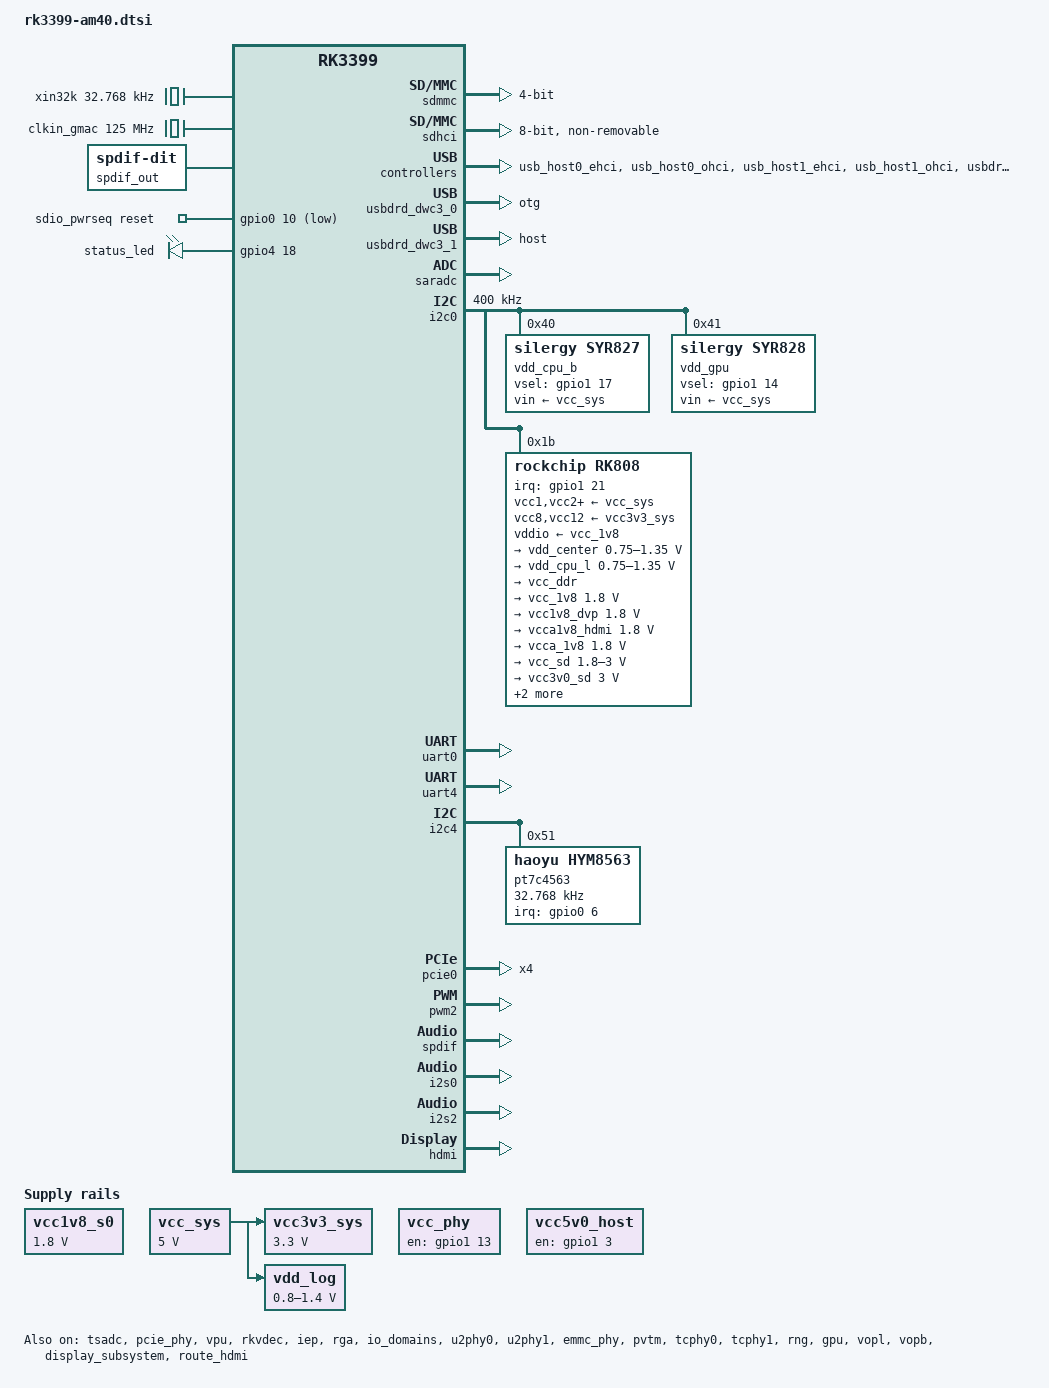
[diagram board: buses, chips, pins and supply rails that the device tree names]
#include <dt-bindings/pwm/pwm.h>
#include <dt-bindings/input/input.h>
#include "rk3399.dtsi"
#include "rk3399-android.dtsi"
#include "rk3399-opp.dtsi"
/{
    compatible = "rockchip,rk3399-am40","rockchip,rk3399";
    rk_key:rockchip-key {
		compatible = "rockchip,key";
		status = "okay";

		power-key {
			gpios = <&gpio0 5 GPIO_ACTIVE_LOW>;
			label = "power";
			gpio-key,wakeup;
		};
	};

	vcc1v8_s0: vcc1v8-s0 {
		compatible = "regulator-fixed";
		regulator-name = "vcc1v8_s0";
		regulator-min-microvolt = <1800000>;
		regulator-max-microvolt = <1800000>;
		regulator-always-on;
		regulator-boot-on;
	};

	vcc_sys: vcc-sys {
		compatible = "regulator-fixed";
		regulator-name = "vcc_sys";
		regulator-min-microvolt = <5000000>;
		regulator-max-microvolt = <5000000>;
		regulator-always-on;
		regulator-boot-on;
	};

	vcc_phy: vcc-phy-regulator {
		compatible = "regulator-fixed";
		regulator-name = "vcc_phy";
		regulator-always-on;
		regulator-boot-on;
		enable-active-high;
		gpio = <&gpio1 13 GPIO_ACTIVE_HIGH>;
	};

	vcc3v3_sys: vcc3v3-sys {
		compatible = "regulator-fixed";
		regulator-name = "vcc3v3_sys";
		regulator-min-microvolt = <3300000>;
		regulator-max-microvolt = <3300000>;
		regulator-always-on;
		regulator-boot-on;
		vin-supply = <&vcc_sys>;
	};

	vcc5v0_host: vcc5v0-host-regulator {
		compatible = "regulator-fixed";
		enable-active-high;
		gpio = <&gpio1 3 GPIO_ACTIVE_HIGH>;
		pinctrl-names = "default";
		pinctrl-0 = <&host_vbus_drv>;
		regulator-name = "vcc5v0_host";
		regulator-always-on;
		regulator-boot-on;
	};

	vdd_log: vdd-log {
		compatible = "pwm-regulator";
		pwms = <&pwm2 0 25000 1>;
		regulator-name = "vdd_log";
		regulator-min-microvolt = <800000>;
		regulator-max-microvolt = <1400000>;
		regulator-always-on;
		regulator-boot-on;
		rockchip,pwm_id= <2>;
		rockchip,pwm_voltage = <900000>;
		vin-supply = <&vcc_sys>;
	};
	
	xin32k: xin32k {
		compatible = "fixed-clock";
		clock-frequency = <32768>;
		clock-output-names = "xin32k";
		#clock-cells = <0>;
	};

	clkin_gmac: external-gmac-clock {
		compatible = "fixed-clock";
		clock-frequency = <125000000>;
		clock-output-names = "clkin_gmac";
		#clock-cells = <0>;
	};

	spdif-sound {
		status = "okay";
		compatible = "simple-audio-card";
		simple-audio-card,name = "ROCKCHIP,SPDIF";
		simple-audio-card,mclk-fs = <128>;
		simple-audio-card,cpu {
			sound-dai = <&spdif>;
		};
		simple-audio-card,codec {
			sound-dai = <&spdif_out>;
		};
	};

	spdif_out: spdif-out {
		status = "okay";
		compatible = "linux,spdif-dit";
		#sound-dai-cells = <0>;
	};

	sdio_pwrseq: sdio-pwrseq {
		compatible = "mmc-pwrseq-simple";
		clocks = <&rk808 1>;
		clock-names = "ext_clock";
		pinctrl-names = "default";
		pinctrl-0 = <&wifi_enable_h>;
		reset-gpios = <&gpio0 10 GPIO_ACTIVE_LOW>;
	};

	test-power {
		status = "okay";
	};
	
    leds: gpio-led {
		compatible = "gpio-leds";
		pinctrl-names = "default";
		pinctrl-0 = <&leds_gpio>;
		status = "okay";
		led@1 {
			gpios = <&gpio4 18 GPIO_ACTIVE_HIGH>;
			label = "status_led";
			linux,default-trigger = "heartbeat";
			default-state = "on";
			linux,default-trigger-delay-ms = <0>;
		};
	};
};

&sdmmc {
	clock-frequency = <100000000>;
	clock-freq-min-max = <100000 100000000>;
	supports-sd;
	bus-width = <4>;
	cap-mmc-highspeed;
	cap-sd-highspeed;
	disable-wp;
	num-slots = <1>;
	vqmmc-supply = <&vcc_sd>;
	pinctrl-names = "default";
	pinctrl-0 = <&sdmmc_clk &sdmmc_cmd &sdmmc_cd &sdmmc_bus4 &sdmmc_en &sdmmc_sleep>;
	card-detect-delay = <800>;
	status = "okay";
};

&sdhci {
	bus-width = <8>;
	mmc-hs400-1_8v;
	mmc-hs400-enhanced-strobe;
	non-removable;
	no-sd;
	no-sdio;
	status = "okay";
	assigned-clock-parents = <&cru PLL_GPLL>;
};

&usb_host0_ehci {
    power-domains = <&power RK3399_PD_PERIHP>;
    status = "okay";
};

&usb_host0_ohci{
    power-domains = <&power RK3399_PD_PERIHP>;
    status = "okay";
};

&usb_host1_ehci {
    power-domains = <&power RK3399_PD_PERIHP>;
    status = "okay";
};

&usb_host1_ohci{
    power-domains = <&power RK3399_PD_PERIHP>;
    status = "okay";
};

&usbdrd3_0 {
	status = "okay";
    extcon = <&u2phy0>;
};

&usbdrd_dwc3_0 {
	dr_mode = "otg";
	status = "okay";
};

&usbdrd3_1 {
	status = "okay";
};

&usbdrd_dwc3_1 {
	dr_mode = "host";
	status = "okay";
};

&dp_in_vopb {
	status = "disabled";
};

&saradc {
	status = "okay";
};

&i2c0 {
	status = "okay";
	i2c-scl-rising-time-ns = <168>;
	i2c-scl-falling-time-ns = <4>;
	clock-frequency = <400000>;

	vdd_cpu_b: syr827@40 {
		compatible = "silergy,syr827";
		reg = <0x40>;
		regulator-compatible = "fan53555-reg";
		pinctrl-0 = <&vsel1_gpio>;
		vsel-gpios = <&gpio1 17 GPIO_ACTIVE_HIGH>;
		regulator-name = "vdd_cpu_b";
		regulator-min-microvolt = <712500>;
		regulator-max-microvolt = <1500000>;
		regulator-ramp-delay = <1000>;
		fcs,suspend-voltage-selector = <1>;
		regulator-always-on;
		regulator-boot-on;
		vin-supply = <&vcc_sys>;
		regulator-state-mem {
			regulator-off-in-suspend;
		};
	};

	vdd_gpu: syr828@41 {
		compatible = "silergy,syr828";
		reg = <0x41>;
		regulator-compatible = "fan53555-reg";
		pinctrl-0 = <&vsel2_gpio>;
		vsel-gpios = <&gpio1 14 GPIO_ACTIVE_HIGH>;
		regulator-name = "vdd_gpu";
		regulator-min-microvolt = <712500>;
		regulator-max-microvolt = <1500000>;
		regulator-ramp-delay = <1000>;
		fcs,suspend-voltage-selector = <1>;
		regulator-always-on;
		regulator-boot-on;
		vin-supply = <&vcc_sys>;
		regulator-initial-mode = <1>; /* 1:force PWM 2:auto */
		regulator-state-mem {
			regulator-off-in-suspend;
		};
	};

	rk808: pmic@1b {
		compatible = "rockchip,rk808";
		reg = <0x1b>;
		interrupt-parent = <&gpio1>;
		interrupts = <21 IRQ_TYPE_LEVEL_LOW>;
		pinctrl-names = "default";
		pinctrl-0 = <&pmic_int_l>;
		rockchip,system-power-controller;
		wakeup-source;
		#clock-cells = <1>;
		clock-output-names = "rk808-clkout1", "rk808-clkout2";

		vcc1-supply = <&vcc_sys>;
		vcc2-supply = <&vcc_sys>;
		vcc3-supply = <&vcc_sys>;
		vcc4-supply = <&vcc_sys>;
		vcc6-supply = <&vcc_sys>;
		vcc7-supply = <&vcc_sys>;
		vcc8-supply = <&vcc3v3_sys>;
		vcc9-supply = <&vcc_sys>;
		vcc10-supply = <&vcc_sys>;
		vcc11-supply = <&vcc_sys>;
		vcc12-supply = <&vcc3v3_sys>;
		vddio-supply = <&vcc_1v8>;
        
        rtc {
		    status = "okay";
	    };
    
		regulators {
			vdd_center: DCDC_REG1 {
				regulator-name = "vdd_center";
				regulator-min-microvolt = <750000>;
				regulator-max-microvolt = <1350000>;
				regulator-ramp-delay = <6001>;
				regulator-always-on;
				regulator-boot-on;
				regulator-state-mem {
					regulator-off-in-suspend;
				};
			};

			vdd_cpu_l: DCDC_REG2 {
				regulator-name = "vdd_cpu_l";
				regulator-min-microvolt = <750000>;
				regulator-max-microvolt = <1350000>;
				regulator-ramp-delay = <6001>;
				regulator-always-on;
				regulator-boot-on;
				regulator-state-mem {
					regulator-off-in-suspend;
				};
			};

			vcc_ddr: DCDC_REG3 {
				regulator-name = "vcc_ddr";
				regulator-always-on;
				regulator-boot-on;
				regulator-state-mem {
					regulator-on-in-suspend;
				};
			};

			vcc_1v8: DCDC_REG4 {
				regulator-name = "vcc_1v8";
				regulator-min-microvolt = <1800000>;
				regulator-max-microvolt = <1800000>;
				regulator-always-on;
				regulator-boot-on;
				regulator-state-mem {
					regulator-on-in-suspend;
					regulator-suspend-microvolt = <1800000>;
				};
			};

			vcc1v8_dvp: LDO_REG1 {
				regulator-name = "vcc1v8_dvp";
				regulator-min-microvolt = <1800000>;
				regulator-max-microvolt = <1800000>;
				regulator-always-on;
				regulator-boot-on;
				regulator-state-mem {
					regulator-on-in-suspend;
					regulator-suspend-microvolt = <1800000>;
				};
			};

			vcca1v8_hdmi: LDO_REG2 {
				regulator-name = "vcca1v8_hdmi";
				regulator-min-microvolt = <1800000>;
				regulator-max-microvolt = <1800000>;
				regulator-always-on;
				regulator-boot-on;
				regulator-state-mem {
					regulator-on-in-suspend;
					regulator-suspend-microvolt = <1800000>;
				};
			};

			vcca_1v8: LDO_REG3 {
				regulator-name = "vcca_1v8";
				regulator-min-microvolt = <1800000>;
				regulator-max-microvolt = <1800000>;
				regulator-always-on;
				regulator-boot-on;
				regulator-state-mem {
					regulator-on-in-suspend;
					regulator-suspend-microvolt = <1800000>;
				};
			};

			vcc_sd: LDO_REG4 {
				regulator-name = "vcc_sd";
				regulator-min-microvolt = <1800000>;
				regulator-max-microvolt = <3000000>;
				regulator-always-on;
				regulator-boot-on;
				regulator-state-mem {
					regulator-on-in-suspend;
					regulator-suspend-microvolt = <3000000>;
				};
			};

			vcc3v0_sd: LDO_REG5 {
				regulator-name = "vcc3v0_sd";
				regulator-min-microvolt = <3000000>;
				regulator-max-microvolt = <3000000>;
				regulator-always-on;
				regulator-boot-on;
				regulator-state-mem {
					regulator-on-in-suspend;
					regulator-suspend-microvolt = <3000000>;
				};
			};

			vcc_1v5: LDO_REG6 {
				regulator-name = "vcc_1v5";
				regulator-min-microvolt = <1500000>;
				regulator-max-microvolt = <1500000>;
				regulator-always-on;
				regulator-boot-on;
				regulator-state-mem {
					regulator-on-in-suspend;
					regulator-suspend-microvolt = <1500000>;
				};
			};

			vcca0v9_hdmi: LDO_REG7 {
				regulator-name = "vcca0v9_hdmi";
				regulator-min-microvolt = <900000>;
				regulator-max-microvolt = <900000>;
				regulator-always-on;
				regulator-boot-on;
				regulator-state-mem {
					regulator-on-in-suspend;
					regulator-suspend-microvolt = <900000>;
				};
			};

			vcc_3v0: LDO_REG8 {
				regulator-name = "vcc_3v0";
				regulator-min-microvolt = <3000000>;
				regulator-max-microvolt = <3000000>;
				regulator-always-on;
				regulator-boot-on;
				regulator-state-mem {
					regulator-on-in-suspend;
					regulator-suspend-microvolt = <3000000>;
				};
			};

			vcc3v3_s3: SWITCH_REG1 {
				regulator-name = "vcc3v3_s3";
				regulator-always-on;
				regulator-boot-on;
				regulator-state-mem {
					regulator-on-in-suspend;
				};
			};

			vcc3v3_s0: SWITCH_REG2 {
				regulator-name = "vcc3v3_s0";
				regulator-always-on;
				regulator-boot-on;
				regulator-state-mem {
					regulator-on-in-suspend;
				};
			};
		};
	};
};

&uart0 {
	reg-shift = <2>;
	reg-io-width = <4>;
	pinctrl-names = "default";
	pinctrl-0 = <&uart0_xfer &uart0_cts>;
    assigned-clocks = <&cru SCLK_UART0_SRC>;
	assigned-clock-parents = <&cru PLL_GPLL>;
	status = "okay";
};

&tsadc {
	/* tshut mode 0:CRU 1:GPIO */
	rockchip,hw-tshut-mode = <1>;
	/* tshut polarity 0:LOW 1:HIGH */
	rockchip,hw-tshut-polarity = <1>;
	rockchip,hw-tshut-temp = <120000>;
	status = "okay";
};

&pmu_io_domains{
	status = "okay"; 
    pmu1830-supply = <&vcc_1v8>;
};

&pmu_pvtm {
	status = "okay";
};

&uart4 {
	status = "okay"; 
	assigned-clocks = <&pmucru SCLK_UART4_SRC>;
	assigned-clock-parents = <&pmucru PLL_APLLL>;
};

&i2c4 {
    status = "okay";
    pt7c4563:pt7c4563@51 {
        compatible = "haoyu,hym8563";
        reg = <0x51>;
        clock-frequency = <32768>;
        clock-output-names = "xin32k";
        irq-status = "okay";
        interrupt-parent = <&gpio0>;
        interrupts = <6 IRQ_TYPE_LEVEL_LOW>;
        pinctrl-names = "default";
        pinctrl-0 = <&pt7c4563_irq>;
        status = "okay";
    };
};

&pcie_phy {
   status = "okay"; 
};

&pcie0 {
    status = "okay";
    ep-gpios = <&gpio0 13 GPIO_ACTIVE_HIGH>;
    num-lanes = <4>;
    pinctrl-names = "default";
    pinctrl-0 = <&pcie_clkreqn_cpm>;
};

&pwm2 {
  status = "okay";  
};

&vpu {
    status = "okay"; 
};

&rkvdec {
    status = "okay";
};

&iep {
    status = "okay";
};

&iep_mmu {
    status = "okay";
};

&rga {
    status = "okay";
    dev_mode=<1>;
};

&io_domains {
    status = "okay";
    bt656-supply = <&vcc1v8_s0>; /* bt656_gpio2ab_ms */
    audio-supply = <&vcc1v8_s0>; /* audio_gpio3d4a_ms */
    sdmmc-supply = <&vcc_sd>; /* sdmmc_gpio4b_ms */
    gpio1830-supply = <&vcc_3v0>; /* gpio1833_gpio4cd_ms */
};

&u2phy0 {
    status = "okay";
    otg-vbus-gpios = <&gpio1 22 GPIO_ACTIVE_HIGH>;
    
    u2phy0_host: host-port {
        status = "okay";
        phy-supply = <&vcc5v0_host>;
    };

    u2phy0_otg: otg-port {
        status = "okay";
    };
};

&u2phy1 {
    status = "okay";
    u2phy1_host: host-port {
        status = "okay";
        phy-supply = <&vcc5v0_host>;
    };

    u2phy1_otg: otg-port {
        status = "okay";
    };
};

&emmc_phy {
    status = "okay";
};

&pvtm {
    status = "okay";
};

&tcphy0 {
    status = "okay";
};

&tcphy1 {
    status = "okay";
};

&spdif {
    pinctrl-0 = <&spdif_bus_1>;
    status = "okay";
    assigned-clocks = <&cru SCLK_SPDIF_DIV>;
    assigned-clock-parents = <&cru PLL_GPLL>;
    #sound-dai-cells = <0>;
};

&i2s0 {
    status = "okay";
    assigned-clocks = <&cru SCLK_I2S0_DIV>;
    assigned-clock-parents = <&cru PLL_GPLL>;
    rockchip,i2s-broken-burst-len;
    rockchip,playback-channels = <8>;
    rockchip,capture-channels = <8>;
    #sound-dai-cells = <0>;
};

&i2s2 {
    status = "okay";
    assigned-clocks = <&cru SCLK_I2S2_DIV>;
    assigned-clock-parents = <&cru PLL_GPLL>;
    rockchip,i2s-broken-burst-len;
    rockchip,playback-channels = <0>;
    rockchip,capture-channels = <128>;
    #sound-dai-cells = <0>;
};

&rng {
    status = "okay";
};

&gpu {
    status = "okay";
    mali-supply = <&vdd_gpu>;
};

&vopl {
    status = "okay";
    assigned-clocks = <&cru DCLK_VOP1_DIV>;
    assigned-clock-parents = <&cru PLL_CPLL>;
};

&vopl_mmu {
    status = "okay";
};

&vopb {
    status = "okay";
    assigned-clocks = <&cru DCLK_VOP0_DIV>;
    assigned-clock-parents = <&cru PLL_VPLL>;
};

&vopb_mmu {
    status = "okay";
};

&hdmi {
    pinctrl-names = "default";
    #address-cells = <1>;
    #size-cells = <0>;
    #sound-dai-cells = <0>;

    /* DDC-I2C timing specification */
    ddc-i2c-scl-high-time-ns = <9625>;
    ddc-i2c-scl-low-time-ns = <10000>;
    rockchip,hdmi_video_source = <0>;
    
    /* PHY configuration table with proper formatting */
    rockchip,phy-table = <
        74250000    0x8009    0x0004    0x0272
        165000000   0x802b    0x0004    0x0209
        297000000   0x8039    0x0004    0x028d
        594000000   0x8039    0x0000    0x019d
        0           0x0000    0x0000    0x0000
    >;
    status = "okay";
};

&hdmi_in_vopl {
    status = "disabled";
};

&display_subsystem {
    status = "okay";
    logo-memory-region = <&drm_logo>;
};

&route_hdmi {
    status = "okay";
};

&pinctrl {
    pinctrl-names = "default","sleep";
    pinctrl-0 = <&hdmi_en &sdmmc_en &pwr_en>;
    pinctrl-1 = <&sdmmc_sleep &pwr_sleep>;
    
    gmac {
        rgmii_sleep_pins: rgmii-sleep-pins {
            rockchip,pins = <3 15 0 &pcfg_output_low>;
        };
    };
    
    sdmmc {
        sdmmc_en:sdmmc-en {
            rockchip,pins = <0 1 0 &pcfg_pull_up>;
        };

        sdmmc_sleep:sdmmc-sleep {
            rockchip,pins = <0 1 0 &pcfg_output_low>;
        };
    };
    
    hdmi {
        hdmi_en:hdmi-en {
            rockchip,pins = 
            <1 13 0 &pcfg_output_high>,
            <4 28 0 &pcfg_output_high>;
        };

        hdmi_sleep:hdmi-sleep {
            rockchip,pins = <4 29 0 &pcfg_output_low>;
        };
    };
    
    isp {
        cif_clkout:cif-clkout {
            rockchip,pins = <2 11 3 &pcfg_pull_none>;
        };

        isp_dvp_d0d7:isp-dvp-d0d7 {
            rockchip,pins = 
            <2 0 3 &pcfg_pull_none>,
            <2 1 3 &pcfg_pull_none>,
            <2 2 3 &pcfg_pull_none>,
            <2 3 3 &pcfg_pull_none>,
            <2 4 3 &pcfg_pull_none>,
            <2 5 3 &pcfg_pull_none>,
            <2 6 3 &pcfg_pull_none>,
            <2 7 3 &pcfg_pull_none>,
            <2 8 3 &pcfg_pull_none>,
            <2 9 3 &pcfg_pull_none>,
            <2 10 3 &pcfg_pull_none>;
        };

        isp_shutter:isp-shutter {
            rockchip,pins = 
            <1 1 1 &pcfg_pull_none>,
            <1 0 1 &pcfg_pull_none>;
        };

        isp_flash_trigger:isp-flash-trigger {
            rockchip,pins = <1 3 1 &pcfg_pull_none>;
        };

        isp_prelight:isp-prelight {
            rockchip,pins = <1 4 1 &pcfg_pull_none>;
        };
        
        isp_flash_trigger_as_gpio: isp-flash-trigger-as-gpio {
            rockchip,pins = <1 3 0 &pcfg_pull_none>;
        };
    };
    
    sdio-pwrseq {
        wifi_enable_h:wifi-enable-h {
            rockchip,pins = <0 10 0 &pcfg_pull_none>;
        };
    };
    
    wireless-bluetooth {
        uart0_gpios:uart0-gpios {
            rockchip,pins = <2 19 0 &pcfg_pull_none>;
        };
    };
    
    usb2 {
        host_vbus_drv:host-vbus-drv {
            rockchip,pins = <1 3 0 &pcfg_pull_none>;
        };
    };
    
    pmic {
        pmic_int_l:pmic-int-l {
            rockchip,pins = <1 21 0 &pcfg_pull_up>;
        };

        vsel1_gpio:vsel1-gpio {
            rockchip,pins = <1 17 0 &pcfg_pull_down>;
        };

        vsel2_gpio:vsel2-gpio {
            rockchip,pins = <1 14 0 &pcfg_pull_down>;
        };
    };
    
    gpio-leds {
        leds_gpio: leds-gpio {
            rockchip,pins = <4 18 0 &pcfg_pull_none>;
        };
    };
    
    am40-gpio {
        pwr_en:pwr-en {
            rockchip,pins = 
            <0 10 0 &pcfg_output_high>,
            <0 11 0 &pcfg_output_high>,
            <1 4 0 &pcfg_output_high>;
        };

        pwr_sleep:pwr-sleep {
            rockchip,pins = 
            <2 28 0 &pcfg_output_low>,
            <4 29 0 &pcfg_output_low>;
        };
    };
    
    eth_phy {
        eth_phy_pwr:eth-phy-pwr {
            rockchip,pins = <1 13 0 &pcfg_output_high>;
        };
    };

    pt7c_irq {
        pt7c4563_irq:pt7c4563-irq {
            rockchip,pins = <0 6 0 &pcfg_pull_up>;
        };
    };
};

&rockchip_suspend {
    status = "okay";
    rockchip,sleep-debug-en = <0>;
    rockchip,sleep-mode-config = <
        (0
        | RKPM_SLP_ARMPD
        | RKPM_SLP_PERILPPD
        | RKPM_SLP_DDR_RET
        | RKPM_SLP_PLLPD
        | RKPM_SLP_CENTER_PD
        | RKPM_SLP_AP_PWROFF
        )
    >;
    rockchip,wakeup-config = <
        (0
        | RKPM_GPIO_WKUP_EN
        | RKPM_PWM_WKUP_EN
        )
    >;
    rockchip,pwm-regulator-config = <
        (0
        | PWM2_REGULATOR_EN
        )
    >;
    rockchip,power-ctrl =
        <&gpio1 17 GPIO_ACTIVE_HIGH>,
        <&gpio1 14 GPIO_ACTIVE_HIGH>;
};
